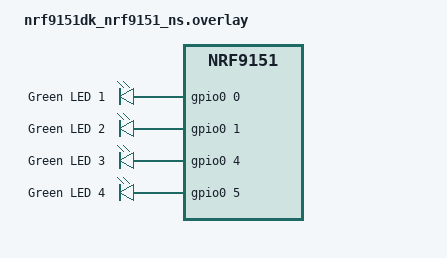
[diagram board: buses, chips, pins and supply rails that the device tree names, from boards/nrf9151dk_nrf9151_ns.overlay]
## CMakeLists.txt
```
#
# Copyright (c) 2022 Nordic Semiconductor
#
# SPDX-License-Identifier: LicenseRef-Nordic-5-Clause
#

cmake_minimum_required(VERSION 3.20.0)

find_package(Zephyr REQUIRED HINTS $ENV{ZEPHYR_BASE})
project(nRF_Cloud_REST_Device_Message_Sample)

zephyr_include_directories(include/)

# NORDIC SDK APP START
# Add include directory for board specific CAF def files
zephyr_include_directories(
  include/${NORMALIZED_BOARD_TARGET}
  )
target_sources(app PRIVATE src/main.c)
# NORDIC SDK APP END
```

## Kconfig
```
#
# Copyright (c) 2022 Nordic Semiconductor ASA
#
# SPDX-License-Identifier: LicenseRef-Nordic-5-Clause
#

menu "nRF Cloud REST Device Message Sample"

config REST_DEVICE_MESSAGE_SAMPLE_VERSION
	string "The sample's version string"
	default "1.0.0"

config REST_DEVICE_MESSAGE_LTE_LED_NUM
	int "The LED number to use for indicating LTE connection success"
	default 0

config REST_DEVICE_MESSAGE_SEND_LED_NUM
	int "The LED number to use for indicating outgoing REST request"
	default 1

config REST_DEVICE_MESSAGE_KEEP_ALIVE
	bool "Keep connection alive during button handling"
	default y
	help
	  Keep the HTTP connection open after sending the button message so the
	  direct logging message can reuse it. This reduces data and power
	  consumption, but is not compatible with the cloud logging backend.

endmenu

menu "Zephyr Kernel"
source "Kconfig.zephyr"
endmenu

module = NRF_CLOUD_REST_DEVICE_MESSAGE_SAMPLE
module-str = nRF Cloud Rest Sample
source "$(ZEPHYR_BASE)/subsys/logging/Kconfig.template.log_config"
```

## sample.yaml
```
sample:
  name: nRF Cloud REST Device message
tests:
  sample.cellular.nrf_cloud_rest_device_message:
    sysbuild: true
    build_only: true
    integration_platforms:
      - nrf9151dk/nrf9151/ns
      - nrf9161dk/nrf9161/ns
      - thingy91x/nrf9151/ns
    platform_allow:
      - nrf9151dk/nrf9151/ns
      - nrf9160dk/nrf9160/ns
      - nrf9161dk/nrf9161/ns
      - thingy91x/nrf9151/ns
    tags:
      - ci_build
      - sysbuild
      - ci_samples_cellular
```

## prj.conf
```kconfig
# TF-M config
CONFIG_TFM_PROFILE_TYPE_MINIMAL=y

# Sample
CONFIG_NRF_CLOUD_REST_DEVICE_MESSAGE_SAMPLE_LOG_LEVEL_INF=y

# nRF Cloud REST
CONFIG_NRF_CLOUD=y
CONFIG_NRF_CLOUD_REST=y
CONFIG_NRF_CLOUD_CLIENT_ID_SRC_IMEI=y
CONFIG_NRF_CLOUD_CHECK_CREDENTIALS=y

# Common Application Framework (CAF)
CONFIG_CAF=y
CONFIG_APP_EVENT_MANAGER=y
CONFIG_APP_EVENT_MANAGER_LOG_LEVEL_ERR=y

# CAF button module with GPIOs
CONFIG_GPIO=y
CONFIG_CAF_BUTTONS=y
CONFIG_CAF_BUTTONS_POLARITY_INVERSED=y

# CAF LEDs module with GPIOs
CONFIG_LED=y
CONFIG_CAF_LEDS=y
CONFIG_LED_GPIO=y
CONFIG_CAF_LEDS_GPIO=y

# Networking
CONFIG_NETWORKING=y
CONFIG_NET_SOCKETS=y
CONFIG_NET_SOCKETS_OFFLOAD=y

# Enable LTE Connectivity using Connection Manager
CONFIG_NET_IPV4=y
CONFIG_NET_IPV6=y
CONFIG_NET_IPV6_NBR_CACHE=n
CONFIG_NET_IPV6_MLD=n
CONFIG_NET_CONNECTION_MANAGER=y
CONFIG_NRF_MODEM_LIB=y
CONFIG_NRF_MODEM_LIB_NET_IF=y
CONFIG_NRF_MODEM_LIB_NET_IF_AUTO_DOWN=y
CONFIG_NRF_MODEM_LIB_NET_IF_DOWN_DEFAULT_LTE_DISCONNECT=y
CONFIG_NET_CONNECTION_MANAGER_MONITOR_STACK_SIZE=1024
CONFIG_NET_MGMT_EVENT_STACK_SIZE=1024

# LTE link control
CONFIG_LTE_LINK_CONTROL=y

# System
CONFIG_HEAP_MEM_POOL_SIZE=19000
CONFIG_MAIN_STACK_SIZE=3072
CONFIG_SYSTEM_WORKQUEUE_STACK_SIZE=2048
CONFIG_ASSERT=y
CONFIG_REBOOT=y
CONFIG_FPU=y
CONFIG_PICOLIBC_IO_FLOAT=y
CONFIG_EVENTS=y
CONFIG_POSIX_API=y

# Logging
CONFIG_LOG=y
CONFIG_LOG_MODE_IMMEDIATE=y
CONFIG_UART_INTERRUPT_DRIVEN=y
CONFIG_NRF_CLOUD_LOG_DIRECT=y
CONFIG_NRF_CLOUD_LOG_OUTPUT_LEVEL=3

# Needed for time-stamping messages
CONFIG_DATE_TIME=y
CONFIG_DATE_TIME_NTP=y
CONFIG_PRINTK=y

# AT Host
CONFIG_AT_HOST_LIBRARY=y
CONFIG_AT_MONITOR_HEAP_SIZE=4096
CONFIG_AT_HOST_STACK_SIZE=2048

# Enable settings storage
CONFIG_SETTINGS=y
CONFIG_SETTINGS_FCB=y
CONFIG_FCB=y
CONFIG_FLASH_MAP=y
CONFIG_FLASH=y
CONFIG_FLASH_PAGE_LAYOUT=y

# Modem info
CONFIG_MODEM_INFO=y
CONFIG_MODEM_INFO_ADD_DEVICE=n
CONFIG_MODEM_INFO_ADD_NETWORK=n
CONFIG_MODEM_INFO_ADD_SIM=n

# Modem key management
CONFIG_MODEM_KEY_MGMT=y
CONFIG_MODEM_JWT=y
CONFIG_NRF_CLOUD_REST_AUTOGEN_JWT=y
CONFIG_NRF_CLOUD_SEC_TAG=16842753
```

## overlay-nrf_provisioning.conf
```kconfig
#
# Copyright (c) 2023 Nordic Semiconductor ASA
#
# SPDX-License-Identifier: LicenseRef-Nordic-5-Clause
#

# Disable JITP
CONFIG_REST_DEVICE_MESSAGE_DO_JITP=n
# Disable AT host, using shell for nRF Provisioning library
CONFIG_AT_HOST_LIBRARY=n

# Enable nRF Provisioning library
CONFIG_NRF_PROVISIONING=y
CONFIG_NRF_PROVISIONING_AUTO_INIT=n
CONFIG_NRF_PROVISIONING_HTTP=y
CONFIG_NRF_PROVISIONING_LOG_LEVEL_INF=y

# Include a certificate as part of the binary. Used only if none has been provisioned
CONFIG_NRF_PROVISIONING_WITH_CERT=y
CONFIG_NRF_PROVISIONING_ROOT_CA_SEC_TAG=50
CONFIG_NRF_CLOUD_CLIENT_ID_SRC_INTERNAL_UUID=y

# Read modem attestation token and uuid from shell
CONFIG_MODEM_ATTEST_TOKEN=y

# Provisioning message content format
CONFIG_NRF_PROVISIONING_CODEC=y
CONFIG_NRF_PROVISIONING_CBOR=y
CONFIG_ZCBOR=y
CONFIG_ZCBOR_CANONICAL=y

# Max provisioning commands per response
CONFIG_NRF_PROVISIONING_CBOR_RECORDS=10

# Maximum length between provisioning requests
CONFIG_NRF_PROVISIONING_INTERVAL_S=86400

# Request spread factor
CONFIG_NRF_PROVISIONING_SPREAD_S=5

# Adjust provisioning and buffer sizes to handle nRF Cloud certs
CONFIG_NRF_PROVISIONING_RX_BUF_SZ=4096
CONFIG_NRF_PROVISIONING_TX_BUF_SZ=4096
CONFIG_NRF_PROVISIONING_CODEC_AT_CMD_LEN=2048
CONFIG_NRF_PROVISIONING_CODEC_RX_SZ_START=2048
CONFIG_SHELL_BACKEND_SERIAL_RX_RING_BUFFER_SIZE=4096
CONFIG_SHELL_CMD_BUFF_SIZE=4096
CONFIG_HEAP_MEM_POOL_SIZE=16384

# Shell
CONFIG_SETTINGS_SHELL=y
CONFIG_NRF_PROVISIONING_SHELL=y
CONFIG_SHELL=y
CONFIG_AT_SHELL=y

# Enable settings storage
CONFIG_SETTINGS=y
CONFIG_SETTINGS_FCB=y
CONFIG_FCB=y
CONFIG_FLASH_MAP=y
CONFIG_FLASH=y
CONFIG_FLASH_PAGE_LAYOUT=y

# Enable Date Time service
CONFIG_DATE_TIME=y

# Modem info
CONFIG_MODEM_INFO=y
CONFIG_MODEM_INFO_ADD_DEVICE=n
CONFIG_MODEM_INFO_ADD_NETWORK=n
CONFIG_MODEM_INFO_ADD_SIM=n

# Modem key management
CONFIG_MODEM_KEY_MGMT=y
```

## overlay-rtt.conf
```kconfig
#
# Copyright (c) 2023 Nordic Semiconductor
#
# SPDX-License-Identifier: LicenseRef-Nordic-5-Clause
#

CONFIG_USE_SEGGER_RTT=y
CONFIG_RTT_CONSOLE=y
CONFIG_UART_CONSOLE=n
```

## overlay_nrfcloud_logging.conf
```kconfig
#
# Copyright (c) 2023 Nordic Semiconductor ASA
#
# SPDX-License-Identifier: LicenseRef-Nordic-5-Clause
#
CONFIG_NRF_CLOUD_LOG_BACKEND=y
CONFIG_NRF_CLOUD_LOG_LOG_LEVEL_INF=y
CONFIG_LOG_MODE_DEFERRED=y

# If enabled, log levels for each log source can be set per log backend, and
# can be changed dynamically.
CONFIG_LOG_RUNTIME_FILTERING=n

CONFIG_LOG_BUFFER_SIZE=4096

# Select which format to generate. Dictionary logs are compact but require
# decoding on the server or user PC. Text logs are verbose but immediately
# visible in the nRF Cloud web portal. Unless you disable UART text logging,
# you must set CONFIG_LOG_FMT_SECTION_STRIP=n when
# CONFIG_LOG_BACKEND_NRF_CLOUD_OUTPUT_DICTIONARY=y, or else you will get a
# build assert warning you to do so. This is to prevent a hard crash at runtime.
CONFIG_LOG_BACKEND_NRF_CLOUD_OUTPUT_TEXT=y
#CONFIG_LOG_BACKEND_NRF_CLOUD_OUTPUT_DICTIONARY=y
#CONFIG_LOG_FMT_SECTION_STRIP=n

CONFIG_LOG_PROCESS_THREAD_STACK_SIZE=4096
CONFIG_LOG_PROCESS_THREAD_SLEEP_MS=10000
CONFIG_LOG_PROCESS_TRIGGER_THRESHOLD=5
CONFIG_REST_DEVICE_MESSAGE_KEEP_ALIVE=n
```

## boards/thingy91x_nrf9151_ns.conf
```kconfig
#
# Copyright (c) 2025 Nordic Semiconductor ASA
#
# SPDX-License-Identifier: LicenseRef-Nordic-5-Clause
#

# Configuration file for Thingy:91 X.
# This file is merged with prj.conf in the application folder, and options
# set here will take precedence if they are present in both files.

# Use UUID as client ID
CONFIG_NRF_CLOUD_CLIENT_ID_SRC_INTERNAL_UUID=y

# RED LED indicates LTE connection success
CONFIG_REST_DEVICE_MESSAGE_LTE_LED_NUM=0
# GREEN LED indicates successful sending of device message
CONFIG_REST_DEVICE_MESSAGE_SEND_LED_NUM=1
```

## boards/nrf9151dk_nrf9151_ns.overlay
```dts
/ {
	/delete-node/ leds;

	leds0 {
		compatible = "gpio-leds";
		status = "okay";
		label = "LED0";

		led0: led_0 {
			status = "okay";
			gpios = <&gpio0 0 0>;
			label = "Green LED 1";
		};
	};

	leds1 {
		compatible = "gpio-leds";
		status = "okay";
		label = "LED1";

		led1: led_1 {
			gpios = <&gpio0 1 0>;
			label = "Green LED 2";
		};
	};

	leds2 {
		compatible = "gpio-leds";
		status = "okay";
		label = "LED2";

		led2: led_2 {
			gpios = <&gpio0 4 0>;
			label = "Green LED 3";
		};
	};

	leds3 {
		compatible = "gpio-leds";
		status = "okay";
		label = "LED3";

		led3: led_3 {
			gpios = <&gpio0 5 0>;
			label = "Green LED 4";
		};
	};
};
```

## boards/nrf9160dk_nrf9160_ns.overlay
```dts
/* Copyright (c) 2023 Nordic Semiconductor ASA
 *
 * SPDX-License-Identifier: LicenseRef-Nordic-5-Clause
 */

/ {
	/* Define 4 monochromatic LEDs connected directly
	 * to the GPIO to be used with CAF LEDs module
	 */
	led0 {
		compatible = "gpio-leds";
		status = "okay";

		led0_0: led_0 {
			gpios = <&gpio0 2 0>;
		};
	};

	led1 {
		compatible = "gpio-leds";
		status = "okay";

		led1_0: led_0 {
			gpios = <&gpio0 3 0>;
		};
	};

	led2 {
		compatible = "gpio-leds";
		status = "okay";

		led2_0: led_0 {
			gpios = <&gpio0 4 0>;
		};
	};

	led3 {
		compatible = "gpio-leds";
		status = "okay";

		led3_0: led_0 {
			gpios = <&gpio0 5 0>;
		};
	};

	/* Disable the original leds node from device-tree
	 * since it is incompatible with the CAF LEDs module
	 */
	leds {
		status = "disabled";
	};
};
```

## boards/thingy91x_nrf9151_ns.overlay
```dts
/*
 * Copyright (c) 2025 Nordic Semiconductor ASA
 *
 * SPDX-License-Identifier: LicenseRef-Nordic-5-Clause
 */

/ {
	aliases {
		/delete-property/ led0;
		/delete-property/ led1;
		/delete-property/ led2;
	};

	/delete-node/ leds;

	leds0 {
		compatible = "gpio-leds";
		status = "okay";
		label = "LED0";

		led0: led_0 {
			status = "okay";
			gpios = <&gpio0 29 0>;
			label = "RGB red channel";
		};
	};

	leds1 {
		compatible = "gpio-leds";
		status = "okay";
		label = "LED1";

		led1: led_1 {
			gpios = <&gpio0 31 0>;
			label = "RGB green channel";
		};
	};

	leds2 {
		compatible = "gpio-leds";
		status = "okay";
		label = "LED2";

		led2: led_2 {
			gpios = <&gpio0 30 0>;
			label = "RGB blue channel";
		};
	};
};
```

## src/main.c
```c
/*
 * Copyright (c) 2022 Nordic Semiconductor ASA
 *
 * SPDX-License-Identifier: LicenseRef-Nordic-5-Clause
 */

#include <zephyr/kernel.h>
#include <modem/nrf_modem_lib.h>
#include <nrf_modem_at.h>
#include <modem/modem_info.h>
#include <zephyr/settings/settings.h>
#include <helpers/nrfx_reset_reason.h>
#include <net/nrf_cloud.h>
#include <net/nrf_cloud_rest.h>
#include <net/nrf_cloud_log.h>
#include <zephyr/logging/log.h>
#include <zephyr/logging/log_ctrl.h>
#include <date_time.h>
#include <zephyr/random/random.h>

#include <app_event_manager.h>
#include <caf/events/button_event.h>
#include <caf/events/led_event.h>
#define MODULE main
#include <caf/events/module_state_event.h>

#include <zephyr/net/conn_mgr_connectivity.h>

#include "leds_def.h"

LOG_MODULE_REGISTER(nrf_cloud_rest_device_message,
		    CONFIG_NRF_CLOUD_REST_DEVICE_MESSAGE_SAMPLE_LOG_LEVEL);

/* Button number to send BUTTON event device message */
#define BTN_NUM		1
#define LTE_LED_NUM	 CONFIG_REST_DEVICE_MESSAGE_LTE_LED_NUM
#define SEND_LED_NUM	 CONFIG_REST_DEVICE_MESSAGE_SEND_LED_NUM

/* This does not match a predefined schema, but it is not a problem. */
#define SAMPLE_SIGNON_FMT "nRF Cloud REST Device Message Sample, version: %s"
#define SAMPLE_MSG_FMT	"{\"sample_message\":"\
				"\"Hello World, from the REST Device Message Sample! "\
				"Message ID: %lld\"}"
#define SAMPLE_MSG_BUF_SIZE (sizeof(SAMPLE_MSG_FMT) + 19)

/* Network states */
#define NETWORK_UP		  BIT(0)
#define EVENT_MASK		  (NET_EVENT_L4_CONNECTED | NET_EVENT_L4_DISCONNECTED)

/* Semaphore to indicate a button has been pressed */
static K_EVENT_DEFINE(button_press_event);
#define BUTTON_PRESSED BIT(0)

/* Connection event */
static K_EVENT_DEFINE(connection_events);

/* nRF Cloud device ID */
static char device_id[NRF_CLOUD_CLIENT_ID_MAX_LEN + 1];

#define REST_RX_BUF_SZ 2100
/* Buffer used for REST calls */
static char rx_buf[REST_RX_BUF_SZ];

/* nRF Cloud REST context */
static struct nrf_cloud_rest_context rest_ctx = {.connect_socket = -1,
						 .keep_alive = false,
						 .rx_buf = rx_buf,
						 .rx_buf_len = sizeof(rx_buf),
						 .fragment_size = 0};

/* Register a listener for application events, specifically a button event */
static bool app_event_handler(const struct app_event_header *aeh);
APP_EVENT_LISTENER(MODULE, app_event_handler);
APP_EVENT_SUBSCRIBE(MODULE, button_event);

static int send_led_event(enum led_id led_idx, const int state)
{
	if (led_idx >= LED_ID_COUNT) {
		LOG_ERR("Invalid LED ID: %d", led_idx);
		return -EINVAL;
	}

	struct led_event *event = new_led_event();

	event->led_id = led_idx;
	event->led_effect = state != 0 ? &led_effect_on : &led_effect_off;
	APP_EVENT_SUBMIT(event);

	return 0;
}

static int set_led(const int led, const int state)
{
	int err = send_led_event(led, state);
	if (err) {
		LOG_ERR("Failed to set LED %d, error: %d", led, err);
		return err;
	}

	return 0;
}

static int set_leds_off(void)
{
	int err = set_led(LTE_LED_NUM, 0);
	if (err) {
		return err;
	}

	err = set_led(SEND_LED_NUM, 0);
	if (err) {
		return err;
	}

	return 0;
}

static bool cred_check(struct nrf_cloud_credentials_status *const cs)
{
	int ret = 0;

	ret = nrf_cloud_credentials_check(cs);
	if (ret) {
		LOG_ERR("nRF Cloud credentials check failed, error: %d", ret);
		return false;
	}

	/* Since this is a REST sample, we only need two credentials:
	 *  - a CA for the TLS connections
	 *  - a private key to sign the JWT
	 */

	if (!cs->ca || !cs->ca_aws || !cs->prv_key) {
		LOG_WRN("Missing required nRF Cloud credential(s) in sec tag %u:", cs->sec_tag);
	}
	if (!cs->ca || !cs->ca_aws) {
		LOG_WRN("\t-CA Cert");
	}
	if (!cs->prv_key) {
		LOG_WRN("\t-Private Key");
	}

	return (cs->ca && cs->ca_aws && cs->prv_key);
}

static void await_credentials(void)
{
	struct nrf_cloud_credentials_status cs;

	while (!cred_check(&cs)) {
		LOG_INF("Waiting for credentials to be installed...");
		LOG_INF("Press the reset button once the credentials are installed");
		k_sleep(K_FOREVER);
	}

	LOG_INF("nRF Cloud credentials detected!");
}

static bool app_event_handler(const struct app_event_header *aeh)
{
	struct button_event *event = is_button_event(aeh) ? cast_button_event(aeh) : NULL;

	if (!event) {
		return false;
	} else if (!event->pressed) {
		return true;
	}

	const uint16_t btn_num = event->key_id + 1;

	if (btn_num == BTN_NUM) {
		LOG_DBG("Button %d pressed", btn_num);
		k_event_post(&button_press_event, BUTTON_PRESSED);
	}
	return true;
}

static int send_message(const char *const msg)
{
	int ret = 0;

	/* Turn the SEND LED on for a bit */
	set_led(SEND_LED_NUM, 1);

	LOG_INF("Sending message:'%s'", msg);
	/* Send the message to nRF Cloud */
	ret = nrf_cloud_rest_send_device_message(&rest_ctx, device_id, msg, false, NULL);
	if (ret) {
		LOG_ERR("Failed to send device message via REST: %d", ret);
	} else {
		LOG_INF("Message sent");
	}

	/* Keep that LED on for at least 100ms */
	k_sleep(K_MSEC(100));

	/* Turn the LED back off */
	set_led(SEND_LED_NUM, 0);

	return ret;
}

static void send_message_on_button(void)
{
	static unsigned int count;

	/* Wait for a button press */
	k_event_wait(&button_press_event, BUTTON_PRESSED, true, K_FOREVER);

	/* Send off a JSON message about the button press */
	/* This matches the nRF Cloud-defined schema for a "BUTTON" device message */
	rest_ctx.keep_alive = IS_ENABLED(CONFIG_REST_DEVICE_MESSAGE_KEEP_ALIVE);
	(void)send_message("{\"appId\":\"BUTTON\", \"messageType\":\"DATA\", \"data\":\"1\"}");
	rest_ctx.keep_alive = false;
	(void)nrf_cloud_rest_log_send(&rest_ctx, device_id, LOG_LEVEL_DBG,
				      "Button pressed %u times", ++count);
}

static void print_reset_reason(void)
{
	int reset_reason = 0;

	reset_reason = nrfx_reset_reason_get();
	nrfx_reset_reason_clear(reset_reason);
	LOG_INF("Reset reason: 0x%x", reset_reason);
}

static void report_startup(void)
{
	int err = 0;

	/* Set the keep alive flag to true;
	 * connection will remain open to allow for multiple REST calls
	 */
	rest_ctx.keep_alive = true;

	err = nrf_cloud_rest_log_send(&rest_ctx, device_id,
							LOG_LEVEL_INF,
							SAMPLE_SIGNON_FMT,
							CONFIG_REST_DEVICE_MESSAGE_SAMPLE_VERSION);
	if (err) {
		LOG_ERR("Error sending direct log to cloud: %d", err);
	}
}

int send_hello_world_msg(void)
{
	int err = 0;
	int64_t time_now = 0;
	char buf[SAMPLE_MSG_BUF_SIZE];

	/* Get the current timestamp */
	err = date_time_now(&time_now);
	if (err) {
		LOG_ERR("Failed to get timestamp, using random number");
		sys_rand_get(&time_now, sizeof(time_now));
	}

	/* Send off a hello world message! */
	err = snprintk(buf, SAMPLE_MSG_BUF_SIZE, SAMPLE_MSG_FMT, time_now);
	if (err < 0 || err > SAMPLE_MSG_BUF_SIZE) {
		LOG_ERR("Failed to create Hello World message.");
		return err;
	}

	err = send_message(buf);
	if (err) {
		LOG_ERR("Failed to send Hello World message");
	} else {
		LOG_INF("Sent Hello World message with ID: %lld", time_now);
	}

	return err;
}

static void modem_time_wait(void)
{
	int err = 0;
	char time_buf[64];

	LOG_INF("Waiting for modem to acquire network time...");

	do {
		k_sleep(K_SECONDS(3));

		err = nrf_modem_at_cmd(time_buf, sizeof(time_buf), "AT%%CCLK?");
		if (err) {
			LOG_DBG("AT Clock Command Error %d... Retrying in 3 seconds.", err);
		}
	} while (err != 0);

	LOG_INF("Network time obtained");
}

/* For simplicity, just build the JSON string here and add the interval with snprintk */
#define REP_CTRL_TMPLT "{\"" NRF_CLOUD_JSON_KEY_REP "\":{" \
				"\"" NRF_CLOUD_JSON_KEY_CTRL "\":{" \
					"\"" NRF_CLOUD_JSON_KEY_LOG "\":%lu}}}"

/* The transform is just a dotted string of the JSON keys */
#define TRANSFORM_DESIRED_LOG_LVL	NRF_CLOUD_JSON_KEY_STATE "." \
					NRF_CLOUD_JSON_KEY_DES "." \
					NRF_CLOUD_JSON_KEY_CTRL "." \
					NRF_CLOUD_JSON_KEY_LOG

/* Size of the template plus three additional chars for the number value */
#define REP_CTRL_BUFF_SZ (sizeof(REP_CTRL_TMPLT) + 3)

static void check_desired_log_level(void)
{
	/* Ensure the reported section gets sent once */
	static bool reported_sent;
	static char ctrl_buf[REP_CTRL_BUFF_SZ];
	long desired_log_level = -1;
	bool update_reported = false;
	int err;

	/* Check if there is a value in the desired config */
	err = nrf_cloud_rest_shadow_transform_request(&rest_ctx, device_id,
						      TRANSFORM_DESIRED_LOG_LVL);
	if (err) {
		LOG_ERR("Failed to request desired log level, error: %u", err);
	} else if ((rest_ctx.response_len == 0) || !rest_ctx.response) {
		LOG_DBG("No desired log level exists");
		desired_log_level = nrf_cloud_log_control_get();
	} else {
		char *endptr;

		/* Parse the desired log level */
		desired_log_level = strtol(rest_ctx.response, &endptr, 10);
		if ((endptr == rest_ctx.response) || (errno)) {
			LOG_ERR("Failed to parse desired log level value");
		}
	}

	/* Validate desired log level */
	LOG_INF("Desired log level: %ld", desired_log_level);

	if (desired_log_level < LOG_LEVEL_NONE || desired_log_level > LOG_LEVEL_DBG) {
		LOG_ERR("Invalid desired log level: %ld", desired_log_level);
		desired_log_level = nrf_cloud_log_control_get();
	} else {
		update_reported = (desired_log_level != nrf_cloud_log_control_get());
	}
	nrf_cloud_log_control_set(desired_log_level);

	if (update_reported || !reported_sent) {
		/* Format the JSON for the reported config */
		err = snprintk(ctrl_buf, REP_CTRL_BUFF_SZ, REP_CTRL_TMPLT, desired_log_level);

		if ((err < 0) || (err >= REP_CTRL_BUFF_SZ)) {
			LOG_ERR("Could not format reported config JSON");
		} else {
			/* Update the shadow's reported config with the log level value */
			err = nrf_cloud_rest_shadow_state_update(&rest_ctx, device_id, ctrl_buf);
			if (!err) {
				reported_sent = true;
			} else {
				LOG_ERR("Failed to update reported config, error: %d", err);
			}
		}
	}
}

static int setup(void)
{
	int err = 0;

	print_reset_reason();

	/* Application event manager is used for button press and LED
	 * events from the common application framework (CAF) library
	 */
	err = app_event_manager_init();
	if (err) {
		LOG_ERR("Application Event Manager could not be initialized, error: %d", err);
		return err;
	}

	/* Inform the app event manager that this module is ready to receive events */
	module_set_state(MODULE_STATE_READY);

	/* Set the LEDs off after all modules are ready */
	err = set_leds_off();
	if (err) {
		LOG_ERR("Failed to set LEDs off");
		return err;
	}

	/* Init modem */
	err = nrf_modem_lib_init();
	if (err) {
		LOG_ERR("Failed to initialize modem library: 0x%X", err);
		return -EFAULT;
	}

	/* Ensure device has credentials installed before proceeding */
	await_credentials();

	/* Get the device ID */
	err = nrf_cloud_client_id_get(device_id, sizeof(device_id));
	if (err) {
		LOG_ERR("Failed to get device ID, error: %d", err);
		return err;
	}

	/* Initiate Connection */
	LOG_INF("Enabling connectivity...");
	conn_mgr_all_if_connect(true);
	k_event_wait(&connection_events, NETWORK_UP, false, K_FOREVER);

	/* Wait until we know what time it is (necessary for JSON Web Token generation) */
	modem_time_wait();

    /* Initialize the nRF Cloud logging subsystem */
	nrf_cloud_log_init();

#if defined(CONFIG_NRF_CLOUD_LOG_BACKEND)
	nrf_cloud_log_rest_context_set(&rest_ctx, device_id);
#endif
	nrf_cloud_log_enable(nrf_cloud_log_control_get() != LOG_LEVEL_NONE);

	check_desired_log_level();

	return 0;
}

/* Callback to track network connectivity */
static struct net_mgmt_event_callback l4_callback;
static void l4_event_handler(struct net_mgmt_event_callback *cb, uint64_t event,
			     struct net_if *iface)
{
	if ((event & EVENT_MASK) != event) {
		return;
	}

	if (event == NET_EVENT_L4_CONNECTED) {
		/* Mark network as up. */
		(void)set_led(LTE_LED_NUM, 1);
		LOG_INF("Connected to LTE");
		k_event_post(&connection_events, NETWORK_UP);
	}

	if (event == NET_EVENT_L4_DISCONNECTED) {
		/* Mark network as down. */
		(void)set_led(LTE_LED_NUM, 0);
		LOG_INF("Network connectivity lost!");
	}
}

/* Start tracking network availability */
static int prepare_network_tracking(void)
{
	net_mgmt_init_event_callback(&l4_callback, l4_event_handler, EVENT_MASK);
	net_mgmt_add_event_callback(&l4_callback);

	return 0;
}

SYS_INIT(prepare_network_tracking, APPLICATION, 0);

int main(void)
{
	int err = 0;

	LOG_INF(SAMPLE_SIGNON_FMT, CONFIG_REST_DEVICE_MESSAGE_SAMPLE_VERSION);

	err = setup();
	if (err) {
		LOG_ERR("Setup failed, stopping.");
		return 0;
	}

	/* Log message to the cloud. */
	report_startup();

	/* Set the keep alive flag to false;
	 * connection will be closed after the next REST call
	 */
	rest_ctx.keep_alive = false;

	err = send_hello_world_msg();

	/* -EBADMSG can indicate that nRF Cloud rejected the device's JWT in the REST call */
	if (err == -EBADMSG) {
		LOG_ERR("Ensure device is provisioned or "
				"has its public key registered with nRF Cloud");
	}

	while (1) {
		send_message_on_button();
		check_desired_log_level();
	}
}
```

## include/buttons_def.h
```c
/*
 * Copyright (c) 2023 Nordic Semiconductor ASA
 *
 * SPDX-License-Identifier: LicenseRef-Nordic-5-Clause
 */

#include <caf/gpio_pins.h>

/* This file is included by the common application framework (CAF) library */

/* This configuration file is included only once from buttons module and holds
 * information about pins forming the keyboard matrix.
 */

/* This structure enforces the header file to be included only once in the build.
 * Violating this requirement triggers a multiple definition error at link time.
 */
const struct {} buttons_def_include_once;

static const struct gpio_pin col[] = {};

static const struct gpio_pin row[] = {
	{ .port = 0, .pin = DT_GPIO_PIN(DT_NODELABEL(button0), gpios) },
	{ .port = 0, .pin = DT_GPIO_PIN(DT_NODELABEL(button1), gpios) },
};
```

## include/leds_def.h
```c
/*
 * Copyright (c) 2023 Nordic Semiconductor ASA
 *
 * SPDX-License-Identifier: LicenseRef-Nordic-5-Clause
 */

#include <caf/led_effect.h>

/* This configuration file is included only once from the main module and holds
 * information about LED on and off effects.
 */

/* This structure enforces the header file to be included only once in the build.
 * Violating this requirement triggers a multiple definition error at link time.
 */
const struct {} leds_def_include_once;

enum led_id {
	LED_ID_0,
	LED_ID_1,
	LED_ID_2,
	LED_ID_3,

	LED_ID_COUNT
};

static const struct led_effect led_effect_on = LED_EFFECT_LED_ON(LED_COLOR_WHITE(255));
static const struct led_effect led_effect_off = LED_EFFECT_LED_OFF();
```
